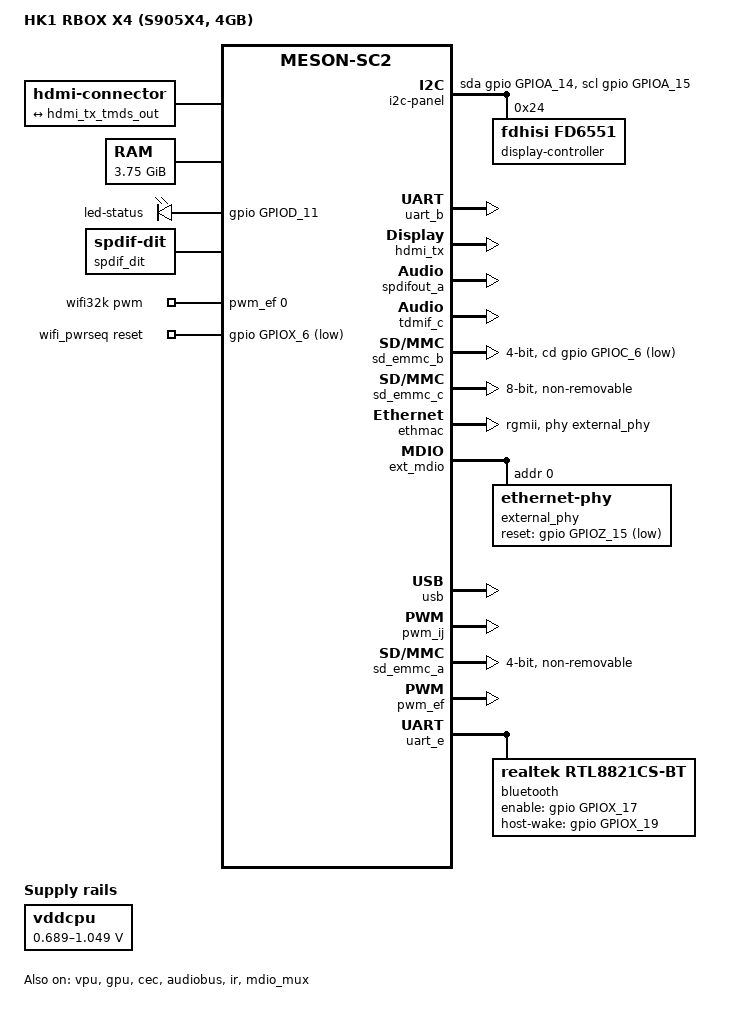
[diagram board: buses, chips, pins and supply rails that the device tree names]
// SPDX-License-Identifier: (GPL-2.0+ OR MIT)
/*
 * HK1 RBOX X4, S905X4, 4GB variant.
 * Wiring and usable-memory boundary: original sc2_ah212_4g vendor DT.
 * Native eMMC is exposed for read-only inventory, not installation.
 */
/dts-v1/;
#include "meson-sc2.dtsi"
#include <dt-bindings/leds/common.h>
#include <dt-bindings/sound/meson-g12a-tohdmitx.h>

/ {
	model = "HK1 RBOX X4 (S905X4, 4GB)";
	compatible = "hk1,rbox-x4", "amlogic,sc2";

	aliases {
		serial0 = &uart_b;
		serial1 = &uart_e;
		mmc0 = &sd_emmc_b;
		ethernet0 = &ethmac;
	};

	chosen {
		stdout-path = "serial0:921600n8";
	};

	hdmi-connector {
		compatible = "hdmi-connector";
		type = "a";

		port {
			hdmi_connector_in: endpoint {
				remote-endpoint = <&hdmi_tx_tmds_out>;
			};
		};
	};

	/* The original 4GB DT exposes 0xf0000000 bytes below the MMIO hole. */
	memory@0 {
		device_type = "memory";
		reg = <0 0 0 0xf0000000>;
	};

	leds {
		compatible = "gpio-leds";

		led-status {
			function = LED_FUNCTION_STATUS;
			gpios = <&gpio GPIOD_11 GPIO_ACTIVE_HIGH>;
			default-state = "on";
		};
	};

	i2c-panel {
		compatible = "i2c-gpio";
		sda-gpios = <&gpio GPIOA_14 (GPIO_ACTIVE_HIGH | GPIO_OPEN_DRAIN)>;
		scl-gpios = <&gpio GPIOA_15 (GPIO_ACTIVE_HIGH | GPIO_OPEN_DRAIN)>;
		i2c-gpio,delay-us = <5>;
		#address-cells = <1>;
		#size-cells = <0>;

		display-controller@24 {
			compatible = "fdhisi,fd6551";
			reg = <0x24>;
			fdhisi,digits = <4 3 2 1>;
			default-brightness-level = <8>;
			#address-cells = <1>;
			#size-cells = <0>;

			display {
				function = "display";
			};

			led@0 {
				reg = <0>;
				function = "alarm";
			};

			led@1 {
				reg = <1>;
				function = "usb";
			};

			led@2 {
				reg = <2>;
				function = "pause";
			};

			led@3 {
				reg = <3>;
				function = "play";
			};

			led@4 {
				reg = <4>;
				function = "colon";
			};

			led@5 {
				reg = <5>;
				function = "lan";
			};

			led@6 {
				reg = <6>;
				function = "wlan";
			};
		};
	};

	spdif_dit: spdif-transmitter {
		compatible = "linux,spdif-dit";
		#sound-dai-cells = <0>;
	};

	sound {
		compatible = "amlogic,axg-sound-card";
		model = "HK1 RBOX X4";
		audio-aux-devs = <&tdmout_c>;
		audio-routing = "SPDIFOUT_A IN 0", "FRDDR_A OUT 3",
				"TDMOUT_C IN 1", "FRDDR_B OUT 2",
				"TDM_C Playback", "TDMOUT_C OUT";
		clocks = <&clkc CLKID_MPLL2>, <&clkc CLKID_MPLL0>,
			 <&clkc CLKID_MPLL1>;
		assigned-clocks = <&clkc CLKID_MPLL2>, <&clkc CLKID_MPLL0>,
				  <&clkc CLKID_MPLL1>;
		assigned-clock-parents = <0>, <0>, <0>;
		assigned-clock-rates = <294912000>, <270950400>, <393216000>;

		dai-link-0 {
			sound-dai = <&frddr_a>;
		};

		dai-link-1 {
			sound-dai = <&frddr_b>;
		};

		dai-link-2 {
			sound-dai = <&spdifout_a>;
			codec {
				sound-dai = <&spdif_dit>;
			};
		};

		dai-link-3 {
			sound-dai = <&tdmif_c>;
			dai-format = "i2s";
			dai-tdm-slot-tx-mask-0 = <1 1>;
			mclk-fs = <256>;
			codec {
				sound-dai = <&tohdmitx TOHDMITX_I2S_IN_C>;
			};
		};

		dai-link-4 {
			sound-dai = <&tohdmitx TOHDMITX_I2S_OUT>;
			codec {
				sound-dai = <&hdmi_tx>;
			};
		};
	};

	wifi32k: wifi-32k-clock {
		compatible = "pwm-clock";
		#clock-cells = <0>;
		clock-frequency = <32768>;
		pwms = <&pwm_ef 0 30518 0>;
	};

	wifi_pwrseq: wifi-pwrseq {
		compatible = "mmc-pwrseq-simple";
		reset-gpios = <&gpio GPIOX_6 GPIO_ACTIVE_LOW>;
		clocks = <&wifi32k>;
		clock-names = "ext_clock";
		post-power-on-delay-ms = <200>;
		power-off-delay-us = <100000>;
	};

	vddcpu: regulator-vddcpu {
		compatible = "pwm-regulator";
		pwms = <&pwm_ij 1 1500 0>;
		regulator-name = "vddcpu0";
		regulator-min-microvolt = <689000>;
		regulator-max-microvolt = <1049000>;
		regulator-always-on;
		regulator-settling-time-us = <200>;
		regulator-max-step-microvolt = <30000>;
		voltage-table = <1049000 0>, <1039000 3>, <1029000 6>,
			<1019000 9>, <1009000 12>, <999000 14>, <989000 17>,
			<979000 20>, <969000 23>, <959000 26>, <949000 29>,
			<939000 31>, <929000 34>, <919000 37>, <909000 40>,
			<899000 43>, <889000 45>, <879000 48>, <869000 51>,
			<859000 54>, <849000 56>, <839000 59>, <829000 62>,
			<819000 65>, <809000 68>, <799000 70>, <789000 73>,
			<779000 76>, <769000 79>, <759000 81>, <749000 84>,
			<739000 87>, <729000 89>, <719000 92>, <709000 95>,
			<699000 98>, <689000 100>;
	};

	cpu_opp_table: opp-table-cpu {
		compatible = "operating-points-v2";
		opp-shared;

		opp-100000000 {
			opp-hz = /bits/ 64 <100000000>;
			opp-microvolt = <779000>;
		};
		opp-250000000 {
			opp-hz = /bits/ 64 <250000000>;
			opp-microvolt = <779000>;
		};
		opp-500000000 {
			opp-hz = /bits/ 64 <500000000>;
			opp-microvolt = <779000>;
		};
		opp-667000000 {
			opp-hz = /bits/ 64 <667000000>;
			opp-microvolt = <799000>;
		};
		opp-1000000000 {
			opp-hz = /bits/ 64 <1000000000>;
			opp-microvolt = <799000>;
		};
		opp-1200000000 {
			opp-hz = /bits/ 64 <1200000000>;
			opp-microvolt = <809000>;
		};
		opp-1404000000 {
			opp-hz = /bits/ 64 <1404000000>;
			opp-microvolt = <839000>;
		};
		opp-1500000000 {
			opp-hz = /bits/ 64 <1500000000>;
			opp-microvolt = <849000>;
		};
		opp-1608000000 {
			opp-hz = /bits/ 64 <1608000000>;
			opp-microvolt = <879000>;
		};
		opp-1704000000 {
			opp-hz = /bits/ 64 <1704000000>;
			opp-microvolt = <919000>;
		};
		opp-1800000000 {
			opp-hz = /bits/ 64 <1800000000>;
			opp-microvolt = <959000>;
		};
		opp-1908000000 {
			opp-hz = /bits/ 64 <1908000000>;
			opp-microvolt = <989000>;
		};
		opp-2004000000 {
			opp-hz = /bits/ 64 <2004000000>;
			opp-microvolt = <1019000>;
		};
	};

	thermal-zones {
		cpu-thermal {
			polling-delay = <1000>;
			polling-delay-passive = <100>;
			thermal-sensors = <&cpu_temp>;
			trips {
				cpu_warm: cpu-warm {
					temperature = <85000>;
					hysteresis = <5000>;
					type = "passive";
				};
				cpu_hot: cpu-hot {
					temperature = <95000>;
					hysteresis = <5000>;
					type = "passive";
				};
				cpu_critical: cpu-critical {
					temperature = <105000>;
					hysteresis = <1000>;
					type = "critical";
				};
			};
			cooling-maps {
				map0 {
					trip = <&cpu_hot>;
					cooling-device = <&cpu0 0 8>;
				};
			};
		};
		ddr-thermal {
			polling-delay = <2000>;
			polling-delay-passive = <1000>;
			thermal-sensors = <&ddr_temp>;
			trips {
				ddr-warm {
					temperature = <85000>;
					hysteresis = <5000>;
					type = "passive";
				};
				ddr-hot {
					temperature = <95000>;
					hysteresis = <5000>;
					type = "passive";
				};
				ddr-critical {
					temperature = <105000>;
					hysteresis = <1000>;
					type = "critical";
				};
			};
		};
	};

	reserved-memory {
		#address-cells = <2>;
		#size-cells = <2>;
		ranges;

		/* Low firmware and BL31 carveouts retained from the SC2 port. */
		firmware@0 {
			reg = <0 0 0 0x1000000>;
			no-map;
		};

		/* Stock secmon alloc-ranges: never make secure memory reusable. */
		secmon@5000000 {
			reg = <0 0x05000000 0 0x03400000>;
			no-map;
		};

		secmon@10000000 {
			reg = <0 0x10000000 0 0x00200000>;
			no-map;
		};

		/* Stock fixed DSP/scanout pools: firmware ownership is unverified. */
		dsp-firmware@30000000 {
			reg = <0 0x30000000 0 0x00800000>;
			no-map;
		};

		framebuffer@df800000 {
			reg = <0 0xdf800000 0 0x00800000>;
			no-map;
		};
		/* Stock ramoops@7400000 overlaps secmon; do not map it here. */
	};
};

&uart_b {
	status = "okay";
};

&vpu {
	status = "okay";
};

&gpu {
	status = "okay";
};

&cec {
	status = "okay";
	pinctrl-names = "default";
	pinctrl-0 = <&cec_b_h_pins>;
};

&hdmi_tx {
	status = "okay";
	pinctrl-names = "default";
	pinctrl-0 = <&hdmitx_hpd_pins>, <&hdmitx_ddc_pins>;
};

&audiobus {
	status = "okay";
};

&spdifout_a {
	status = "okay";
	pinctrl-names = "default";
	pinctrl-0 = <&spdifout_h_pins>;
};

&tdmif_c {
	status = "okay";
};

&ir {
	status = "okay";
	pinctrl-names = "default";
	pinctrl-0 = <&remote_input_pins>;
	linux,rc-map-name = "rc-hk1-rbox-x4";
};

&sd_emmc_b {
	status = "okay";
	pinctrl-names = "default", "clk-gate";
	pinctrl-0 = <&sdcard_pins>;
	pinctrl-1 = <&sdcard_clk_gate_pins>;
	bus-width = <4>;
	cap-sd-highspeed;
	max-frequency = <50000000>;
	voltage-ranges = <3300 3300>;
	no-1-8-v;
	disable-wp;
	cd-gpios = <&gpio GPIOC_6 GPIO_ACTIVE_LOW>;
};

/* Userspace must force this MMC device read-only before inventory tools run. */
&sd_emmc_c {
	status = "okay";
	pinctrl-names = "default", "clk-gate";
	pinctrl-0 = <&emmc_pins>;
	pinctrl-1 = <&emmc_clk_gate_pins>;
	bus-width = <8>;
	cap-mmc-highspeed;
	max-frequency = <52000000>;
	voltage-ranges = <3300 3300>;
	non-removable;
	disable-wp;
	no-sd;
	no-sdio;
};

&ethmac {
	status = "okay";
	pinctrl-names = "default";
	pinctrl-0 = <&eth_pins>;
	phy-mode = "rgmii";
	phy-handle = <&external_phy>;
	amlogic,tx-delay-ns = <2>;
};

&mdio_mux {
	status = "okay";
};

&ext_mdio {
	external_phy: ethernet-phy@0 {
		reg = <0>;
		max-speed = <1000>;
		reset-gpios = <&gpio GPIOZ_15 (GPIO_ACTIVE_LOW | GPIO_OPEN_DRAIN)>;
		reset-assert-us = <20000>;
		reset-deassert-us = <50000>;
		/* Use PHY polling; vendor IRQ 0x154 is not a GPIO binding index. */
	};
};

&usb {
	status = "okay";
};

&dwc3 {
	/* SC2 combo PHY supplies the lane, reference PLL and CR-bus tuning. */
	maximum-speed = "super-speed";
	snps,dis_enblslpm_quirk;
	snps,dis-u2-freeclk-exists-quirk;
	snps,dis_u3_susphy_quirk;
	snps,dis-del-phy-power-chg-quirk;
};

&cpu0 {
	clocks = <&clkc CLKID_CPU_CLK>, <&clkc CLKID_CPU_CLK_DYN>,
		 <&clkc CLKID_SYS_PLL>, <&clkc CLKID_DSU_CLK>,
		 <&clkc CLKID_DSU_CLK_FINAL>, <&clkc CLKID_PWM_J_GATE>;
	clock-names = "core", "low", "high", "dsu", "dsu-pre", "vddcpu-pwm";
	operating-points-v2 = <&cpu_opp_table>;
	cpu-supply = <&vddcpu>;
	#cooling-cells = <2>;
};

&cpu1 {
	clocks = <&clkc CLKID_CPU_CLK>, <&clkc CLKID_CPU_CLK_DYN>,
		 <&clkc CLKID_SYS_PLL>, <&clkc CLKID_DSU_CLK>,
		 <&clkc CLKID_DSU_CLK_FINAL>, <&clkc CLKID_PWM_J_GATE>;
	clock-names = "core", "low", "high", "dsu", "dsu-pre", "vddcpu-pwm";
	operating-points-v2 = <&cpu_opp_table>;
	cpu-supply = <&vddcpu>;
	#cooling-cells = <2>;
};

&cpu2 {
	clocks = <&clkc CLKID_CPU_CLK>, <&clkc CLKID_CPU_CLK_DYN>,
		 <&clkc CLKID_SYS_PLL>, <&clkc CLKID_DSU_CLK>,
		 <&clkc CLKID_DSU_CLK_FINAL>, <&clkc CLKID_PWM_J_GATE>;
	clock-names = "core", "low", "high", "dsu", "dsu-pre", "vddcpu-pwm";
	operating-points-v2 = <&cpu_opp_table>;
	cpu-supply = <&vddcpu>;
	#cooling-cells = <2>;
};

&cpu3 {
	clocks = <&clkc CLKID_CPU_CLK>, <&clkc CLKID_CPU_CLK_DYN>,
		 <&clkc CLKID_SYS_PLL>, <&clkc CLKID_DSU_CLK>,
		 <&clkc CLKID_DSU_CLK_FINAL>, <&clkc CLKID_PWM_J_GATE>;
	clock-names = "core", "low", "high", "dsu", "dsu-pre", "vddcpu-pwm";
	operating-points-v2 = <&cpu_opp_table>;
	cpu-supply = <&vddcpu>;
	#cooling-cells = <2>;
};

&pwm_ij {
	status = "okay";
};

&clkc {
	assigned-clocks = <&clkc CLKID_DSU_CLK>,
		<&clkc CLKID_DSU_CLK_DYN0_SEL>, <&clkc CLKID_DSU_CLK_DYN0>,
		<&clkc CLKID_DSU_CLK_DYN>, <&clkc CLKID_DSU_CLK_FINAL>;
	assigned-clock-parents = <&clkc CLKID_CPU_CLK>,
		<&clkc CLKID_GP1_PLL>, <&clkc CLKID_DSU_CLK_DYN0_SEL>,
		<&clkc CLKID_DSU_CLK_DYN0>, <&clkc CLKID_DSU_CLK_DYN>;
};

&sd_emmc_a {
	status = "okay";
	pinctrl-names = "default";
	pinctrl-0 = <&sdio_pins>;
	bus-width = <4>;
	cap-sd-highspeed;
	cap-sdio-irq;
	non-removable;
	no-sd;
	no-mmc;
	no-1-8-v;
	keep-power-in-suspend;
	max-frequency = <50000000>;
	voltage-ranges = <3300 3300>;
	post-power-on-delay-ms = <100>;
	mmc-pwrseq = <&wifi_pwrseq>;
};

&pwm_ef {
	status = "okay";
	pinctrl-names = "default";
	pinctrl-0 = <&pwm_e_pins>;
	assigned-clocks = <&clkc CLKID_PWM_E_MUX>;
	assigned-clock-parents = <&clkc CLKID_FCLK_DIV3>;
};

&uart_e {
	status = "okay";
	pinctrl-names = "default";
	pinctrl-0 = <&uart_e_pins>;
	uart-has-rtscts;

	bluetooth {
		compatible = "realtek,rtl8821cs-bt", "realtek,rtl8723bs-bt";
		enable-gpios = <&gpio GPIOX_17 GPIO_ACTIVE_HIGH>;
		host-wake-gpios = <&gpio GPIOX_19 GPIO_ACTIVE_HIGH>;
		clocks = <&wifi32k>;
		clock-names = "lpo";
		max-speed = <1500000>;
	};
};
